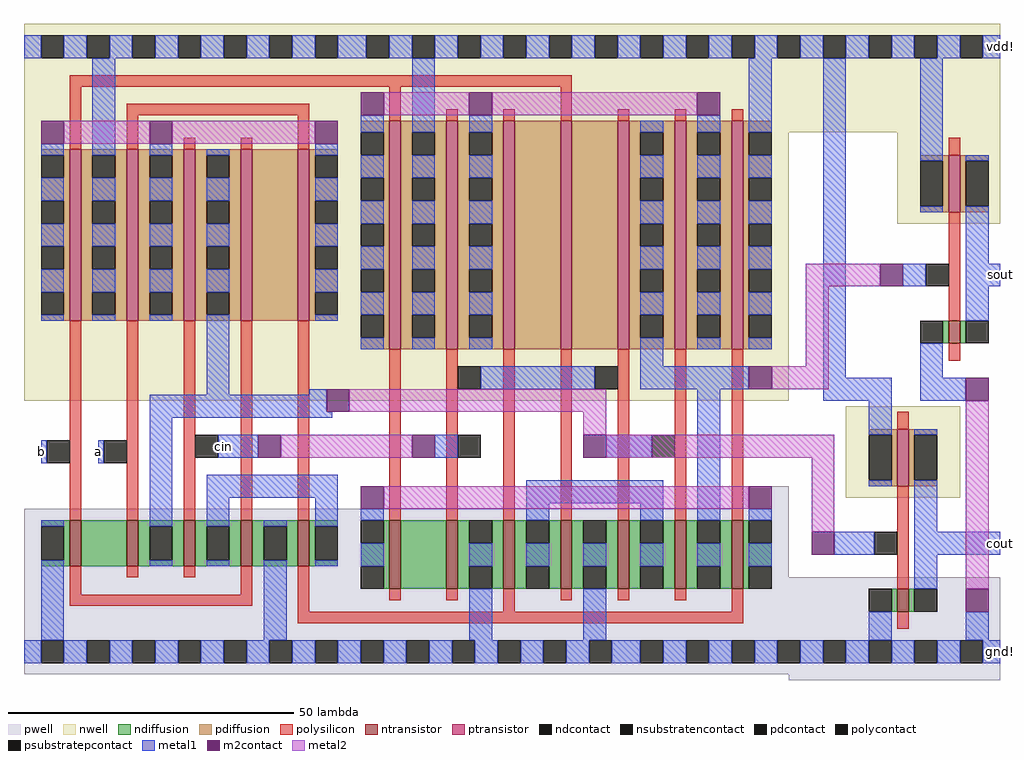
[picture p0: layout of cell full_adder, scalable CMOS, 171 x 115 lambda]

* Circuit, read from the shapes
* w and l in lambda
.subckt full_adder a b cin cout gnd! sout vdd!
M1 n1 b gnd! gnd! nfet w=8 l=2
M2 n2 a n1 gnd! nfet w=8 l=2
M3 n3 cin n2 gnd! nfet w=8 l=2
M4 gnd! b n3 gnd! nfet w=8 l=2
M5 n3 a gnd! gnd! nfet w=8 l=2
M6 n4 b n5 gnd! nfet w=12 l=2
M7 gnd! cin n4 gnd! nfet w=12 l=2
M8 n6 a gnd! gnd! nfet w=12 l=2
M9 gnd! b n6 gnd! nfet w=12 l=2
M10 n6 cin gnd! gnd! nfet w=12 l=2
M11 n7 n2 n6 gnd! nfet w=12 l=2
M12 n5 a n7 gnd! nfet w=12 l=2
M13 cout n2 gnd! gnd! nfet w=4 l=2
M14 sout n7 gnd! gnd! nfet w=4 l=2
M15 vdd! b n8 vdd! pfet w=30 l=2
M16 n8 a vdd! vdd! pfet w=30 l=2
M17 n2 cin n8 vdd! pfet w=30 l=2
M18 n9 b n2 vdd! pfet w=30 l=2
M19 n8 a n9 vdd! pfet w=30 l=2
M20 vdd! b n10 vdd! pfet w=40 l=2
M21 n10 cin vdd! vdd! pfet w=40 l=2
M22 n11 a n10 vdd! pfet w=40 l=2
M23 n12 b n11 vdd! pfet w=40 l=2
M24 n7 cin n12 vdd! pfet w=40 l=2
M25 n10 n2 n7 vdd! pfet w=40 l=2
M26 vdd! a n10 vdd! pfet w=40 l=2
M27 cout n2 vdd! n13 pfet w=10 l=2
M28 sout n7 vdd! vdd! pfet w=10 l=2
.ends

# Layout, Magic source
magic
tech scmos
<< pwell >>
rect 121 -28 131 -24
rect -3 -40 131 -28
rect -3 -57 168 -40
rect 131 -58 168 -57
<< nwell >>
rect -3 38 168 57
rect -3 -9 131 38
rect 150 22 168 38
rect 141 -26 161 -10
<< polysilicon >>
rect 5 46 93 48
rect 5 35 7 46
rect 15 41 47 43
rect 15 35 17 41
rect 25 35 27 37
rect 35 35 37 37
rect 45 35 47 41
rect 61 40 63 46
rect 71 40 73 42
rect 81 40 83 42
rect 91 40 93 46
rect 101 40 103 42
rect 111 40 113 42
rect 121 40 123 42
rect 5 -30 7 5
rect 15 -30 17 5
rect 25 -30 27 5
rect 35 -30 37 5
rect 45 -30 47 5
rect 159 34 161 37
rect 159 5 161 24
rect 61 -30 63 0
rect 71 -30 73 0
rect 81 -30 83 0
rect 91 -30 93 0
rect 101 -30 103 0
rect 111 -30 113 0
rect 121 -30 123 0
rect 159 -2 161 1
rect 150 -14 152 -11
rect 5 -43 7 -38
rect 15 -40 17 -38
rect 25 -40 27 -38
rect 35 -43 37 -38
rect 5 -45 37 -43
rect 45 -46 47 -38
rect 150 -42 152 -24
rect 61 -44 63 -42
rect 71 -44 73 -42
rect 81 -46 83 -42
rect 91 -44 93 -42
rect 101 -44 103 -42
rect 111 -44 113 -42
rect 121 -46 123 -42
rect 45 -48 123 -46
rect 150 -49 152 -46
<< ndiffusion >>
rect 158 1 159 5
rect 161 1 162 5
rect 0 -31 5 -30
rect 4 -37 5 -31
rect 0 -38 5 -37
rect 7 -38 15 -30
rect 17 -31 25 -30
rect 17 -37 19 -31
rect 23 -37 25 -31
rect 17 -38 25 -37
rect 27 -31 35 -30
rect 27 -37 29 -31
rect 33 -37 35 -31
rect 27 -38 35 -37
rect 37 -31 45 -30
rect 37 -37 39 -31
rect 43 -37 45 -31
rect 37 -38 45 -37
rect 47 -31 52 -30
rect 47 -37 48 -31
rect 47 -38 52 -37
rect 60 -34 61 -30
rect 56 -38 61 -34
rect 60 -42 61 -38
rect 63 -42 71 -30
rect 73 -34 75 -30
rect 79 -34 81 -30
rect 73 -38 81 -34
rect 73 -42 75 -38
rect 79 -42 81 -38
rect 83 -34 85 -30
rect 89 -34 91 -30
rect 83 -38 91 -34
rect 83 -42 85 -38
rect 89 -42 91 -38
rect 93 -34 95 -30
rect 99 -34 101 -30
rect 93 -38 101 -34
rect 93 -42 95 -38
rect 99 -42 101 -38
rect 103 -34 105 -30
rect 109 -34 111 -30
rect 103 -38 111 -34
rect 103 -42 105 -38
rect 109 -42 111 -38
rect 113 -34 115 -30
rect 119 -34 121 -30
rect 113 -38 121 -34
rect 113 -42 115 -38
rect 119 -42 121 -38
rect 123 -34 124 -30
rect 123 -38 128 -34
rect 123 -42 124 -38
rect 149 -46 150 -42
rect 152 -46 153 -42
<< pdiffusion >>
rect 56 38 61 40
rect 0 34 5 35
rect 4 30 5 34
rect 0 26 5 30
rect 4 22 5 26
rect 0 18 5 22
rect 4 14 5 18
rect 0 10 5 14
rect 4 6 5 10
rect 0 5 5 6
rect 7 34 15 35
rect 7 30 9 34
rect 13 30 15 34
rect 7 26 15 30
rect 7 22 9 26
rect 13 22 15 26
rect 7 18 15 22
rect 7 14 9 18
rect 13 14 15 18
rect 7 10 15 14
rect 7 6 9 10
rect 13 6 15 10
rect 7 5 15 6
rect 17 34 25 35
rect 17 30 19 34
rect 23 30 25 34
rect 17 26 25 30
rect 17 22 19 26
rect 23 22 25 26
rect 17 18 25 22
rect 17 14 19 18
rect 23 14 25 18
rect 17 10 25 14
rect 17 6 19 10
rect 23 6 25 10
rect 17 5 25 6
rect 27 34 35 35
rect 27 30 29 34
rect 33 30 35 34
rect 27 26 35 30
rect 27 22 29 26
rect 33 22 35 26
rect 27 18 35 22
rect 27 14 29 18
rect 33 14 35 18
rect 27 10 35 14
rect 27 6 29 10
rect 33 6 35 10
rect 27 5 35 6
rect 37 5 45 35
rect 47 34 52 35
rect 47 30 48 34
rect 47 26 52 30
rect 47 22 48 26
rect 47 18 52 22
rect 47 14 48 18
rect 47 10 52 14
rect 47 6 48 10
rect 47 5 52 6
rect 60 34 61 38
rect 56 30 61 34
rect 60 26 61 30
rect 56 22 61 26
rect 60 18 61 22
rect 56 14 61 18
rect 60 10 61 14
rect 56 6 61 10
rect 60 2 61 6
rect 56 0 61 2
rect 63 38 71 40
rect 63 34 65 38
rect 69 34 71 38
rect 63 30 71 34
rect 63 26 65 30
rect 69 26 71 30
rect 63 22 71 26
rect 63 18 65 22
rect 69 18 71 22
rect 63 14 71 18
rect 63 10 65 14
rect 69 10 71 14
rect 63 6 71 10
rect 63 2 65 6
rect 69 2 71 6
rect 63 0 71 2
rect 73 38 81 40
rect 73 34 75 38
rect 79 34 81 38
rect 73 30 81 34
rect 73 26 75 30
rect 79 26 81 30
rect 73 22 81 26
rect 73 18 75 22
rect 79 18 81 22
rect 73 14 81 18
rect 73 10 75 14
rect 79 10 81 14
rect 73 6 81 10
rect 73 2 75 6
rect 79 2 81 6
rect 73 0 81 2
rect 83 0 91 40
rect 93 0 101 40
rect 103 38 111 40
rect 103 34 105 38
rect 109 34 111 38
rect 103 30 111 34
rect 103 26 105 30
rect 109 26 111 30
rect 103 22 111 26
rect 103 18 105 22
rect 109 18 111 22
rect 103 14 111 18
rect 103 10 105 14
rect 109 10 111 14
rect 103 6 111 10
rect 103 2 105 6
rect 109 2 111 6
rect 103 0 111 2
rect 113 38 121 40
rect 113 34 115 38
rect 119 34 121 38
rect 113 30 121 34
rect 113 26 115 30
rect 119 26 121 30
rect 113 22 121 26
rect 113 18 115 22
rect 119 18 121 22
rect 113 14 121 18
rect 113 10 115 14
rect 119 10 121 14
rect 113 6 121 10
rect 113 2 115 6
rect 119 2 121 6
rect 113 0 121 2
rect 123 38 128 40
rect 123 34 124 38
rect 123 30 128 34
rect 123 26 124 30
rect 123 22 128 26
rect 154 33 159 34
rect 158 25 159 33
rect 154 24 159 25
rect 161 33 166 34
rect 161 25 162 33
rect 161 24 166 25
rect 123 18 124 22
rect 123 14 128 18
rect 123 10 124 14
rect 123 6 128 10
rect 123 2 124 6
rect 123 0 128 2
rect 145 -15 150 -14
rect 149 -23 150 -15
rect 145 -24 150 -23
rect 152 -15 157 -14
rect 152 -23 153 -15
rect 152 -24 157 -23
<< metal1 >>
rect -3 51 0 55
rect 4 51 8 55
rect 12 51 16 55
rect 20 51 24 55
rect 28 51 32 55
rect 36 51 40 55
rect 44 51 48 55
rect 52 51 57 55
rect 61 51 65 55
rect 69 51 73 55
rect 77 51 81 55
rect 85 51 89 55
rect 93 51 97 55
rect 101 51 105 55
rect 109 51 113 55
rect 117 51 121 55
rect 125 51 129 55
rect 133 51 137 55
rect 141 51 145 55
rect 149 51 153 55
rect 157 51 161 55
rect 165 51 168 55
rect 0 34 4 36
rect 0 26 4 30
rect 0 18 4 22
rect 0 10 4 14
rect 0 5 4 6
rect 9 34 13 51
rect 9 26 13 30
rect 9 18 13 22
rect 9 10 13 14
rect 9 5 13 6
rect 19 34 23 36
rect 19 26 23 30
rect 19 18 23 22
rect 19 10 23 14
rect 19 5 23 6
rect 29 34 33 35
rect 29 26 33 30
rect 29 18 33 22
rect 29 10 33 14
rect 29 -8 33 6
rect 48 34 52 36
rect 48 26 52 30
rect 48 18 52 22
rect 48 10 52 14
rect 48 5 52 6
rect 56 38 60 41
rect 56 30 60 34
rect 56 22 60 26
rect 56 14 60 18
rect 56 6 60 10
rect 56 0 60 2
rect 65 38 69 51
rect 65 30 69 34
rect 65 22 69 26
rect 65 14 69 18
rect 65 6 69 10
rect 65 0 69 2
rect 75 38 79 41
rect 75 30 79 34
rect 75 22 79 26
rect 75 14 79 18
rect 75 6 79 10
rect 75 0 79 2
rect 105 38 109 40
rect 105 30 109 34
rect 105 22 109 26
rect 105 14 109 18
rect 105 6 109 10
rect 105 -3 109 2
rect 115 38 119 41
rect 115 30 119 34
rect 115 22 119 26
rect 115 14 119 18
rect 115 6 119 10
rect 115 0 119 2
rect 124 38 128 51
rect 124 30 128 34
rect 124 22 128 26
rect 124 14 128 18
rect 124 6 128 10
rect 124 0 128 2
rect 77 -7 97 -3
rect 105 -7 124 -3
rect 137 -5 141 51
rect 154 33 158 51
rect 154 24 158 25
rect 162 33 166 34
rect 162 15 166 25
rect 151 11 155 15
rect 162 11 168 15
rect 162 5 166 11
rect 154 -5 158 1
rect 47 -8 50 -7
rect 19 -11 50 -8
rect 19 -12 51 -11
rect 0 -20 1 -16
rect 10 -20 11 -16
rect 0 -31 4 -30
rect 0 -51 4 -37
rect 19 -31 23 -12
rect 31 -19 38 -15
rect 69 -19 73 -15
rect 99 -19 107 -15
rect 19 -38 23 -37
rect 29 -26 52 -22
rect 29 -31 33 -26
rect 29 -38 33 -37
rect 39 -31 43 -30
rect 39 -51 43 -37
rect 48 -31 52 -26
rect 48 -38 52 -37
rect 56 -30 60 -28
rect 85 -27 109 -23
rect 85 -30 89 -27
rect 105 -30 109 -27
rect 56 -38 60 -34
rect 75 -38 79 -34
rect 85 -38 89 -34
rect 95 -38 99 -34
rect 105 -38 109 -34
rect 115 -30 119 -7
rect 137 -9 149 -5
rect 154 -9 162 -5
rect 145 -15 149 -9
rect 145 -24 149 -23
rect 153 -15 157 -14
rect 115 -38 119 -34
rect 124 -30 128 -28
rect 153 -32 157 -23
rect 124 -38 128 -34
rect 139 -36 146 -32
rect 153 -36 168 -32
rect 153 -42 157 -36
rect 75 -51 79 -42
rect 95 -51 99 -42
rect 145 -51 149 -46
rect 162 -51 166 -46
rect -3 -55 0 -51
rect 4 -55 8 -51
rect 12 -55 16 -51
rect 20 -55 24 -51
rect 28 -55 32 -51
rect 36 -55 40 -51
rect 44 -55 48 -51
rect 52 -55 56 -51
rect 60 -55 64 -51
rect 68 -55 72 -51
rect 76 -55 80 -51
rect 84 -55 88 -51
rect 92 -55 96 -51
rect 100 -55 105 -51
rect 109 -55 113 -51
rect 117 -55 121 -51
rect 125 -55 129 -51
rect 133 -55 137 -51
rect 141 -55 145 -51
rect 149 -55 153 -51
rect 157 -55 161 -51
rect 165 -55 168 -51
<< metal2 >>
rect 60 41 75 45
rect 79 41 115 45
rect 4 36 19 40
rect 23 36 48 40
rect 134 11 147 15
rect 134 -3 138 11
rect 128 -7 138 -3
rect 54 -11 99 -7
rect 95 -15 99 -11
rect 42 -19 65 -15
rect 99 -19 139 -15
rect 60 -28 124 -24
rect 135 -32 139 -19
rect 162 -42 166 -9
<< ntransistor >>
rect 159 1 161 5
rect 5 -38 7 -30
rect 15 -38 17 -30
rect 25 -38 27 -30
rect 35 -38 37 -30
rect 45 -38 47 -30
rect 61 -42 63 -30
rect 71 -42 73 -30
rect 81 -42 83 -30
rect 91 -42 93 -30
rect 101 -42 103 -30
rect 111 -42 113 -30
rect 121 -42 123 -30
rect 150 -46 152 -42
<< ptransistor >>
rect 5 5 7 35
rect 15 5 17 35
rect 25 5 27 35
rect 35 5 37 35
rect 45 5 47 35
rect 61 0 63 40
rect 71 0 73 40
rect 81 0 83 40
rect 91 0 93 40
rect 101 0 103 40
rect 111 0 113 40
rect 121 0 123 40
rect 159 24 161 34
rect 150 -24 152 -14
<< polycontact >>
rect 1 -20 5 -16
rect 11 -20 15 -16
rect 27 -19 31 -15
rect 155 11 159 15
rect 73 -7 77 -3
rect 73 -19 77 -15
rect 97 -7 101 -3
rect 107 -19 111 -15
rect 146 -36 150 -32
<< ndcontact >>
rect 154 1 158 5
rect 162 1 166 5
rect 0 -37 4 -31
rect 19 -37 23 -31
rect 29 -37 33 -31
rect 39 -37 43 -31
rect 48 -37 52 -31
rect 56 -34 60 -30
rect 56 -42 60 -38
rect 75 -34 79 -30
rect 75 -42 79 -38
rect 85 -34 89 -30
rect 85 -42 89 -38
rect 95 -34 99 -30
rect 95 -42 99 -38
rect 105 -34 109 -30
rect 105 -42 109 -38
rect 115 -34 119 -30
rect 115 -42 119 -38
rect 124 -34 128 -30
rect 124 -42 128 -38
rect 145 -46 149 -42
rect 153 -46 157 -42
<< pdcontact >>
rect 0 30 4 34
rect 0 22 4 26
rect 0 14 4 18
rect 0 6 4 10
rect 9 30 13 34
rect 9 22 13 26
rect 9 14 13 18
rect 9 6 13 10
rect 19 30 23 34
rect 19 22 23 26
rect 19 14 23 18
rect 19 6 23 10
rect 29 30 33 34
rect 29 22 33 26
rect 29 14 33 18
rect 29 6 33 10
rect 48 30 52 34
rect 48 22 52 26
rect 48 14 52 18
rect 48 6 52 10
rect 56 34 60 38
rect 56 26 60 30
rect 56 18 60 22
rect 56 10 60 14
rect 56 2 60 6
rect 65 34 69 38
rect 65 26 69 30
rect 65 18 69 22
rect 65 10 69 14
rect 65 2 69 6
rect 75 34 79 38
rect 75 26 79 30
rect 75 18 79 22
rect 75 10 79 14
rect 75 2 79 6
rect 105 34 109 38
rect 105 26 109 30
rect 105 18 109 22
rect 105 10 109 14
rect 105 2 109 6
rect 115 34 119 38
rect 115 26 119 30
rect 115 18 119 22
rect 115 10 119 14
rect 115 2 119 6
rect 124 34 128 38
rect 124 26 128 30
rect 154 25 158 33
rect 162 25 166 33
rect 124 18 128 22
rect 124 10 128 14
rect 124 2 128 6
rect 145 -23 149 -15
rect 153 -23 157 -15
<< m2contact >>
rect 0 36 4 40
rect 56 41 60 45
rect 19 36 23 40
rect 48 36 52 40
rect 75 41 79 45
rect 115 41 119 45
rect 124 -7 128 -3
rect 147 11 151 15
rect 50 -11 54 -7
rect 38 -19 42 -15
rect 65 -19 69 -15
rect 95 -19 99 -15
rect 56 -28 60 -24
rect 162 -9 166 -5
rect 124 -28 128 -24
rect 135 -36 139 -32
rect 162 -46 166 -42
<< psubstratepcontact >>
rect 0 -55 4 -51
rect 8 -55 12 -51
rect 16 -55 20 -51
rect 24 -55 28 -51
rect 32 -55 36 -51
rect 40 -55 44 -51
rect 48 -55 52 -51
rect 56 -55 60 -51
rect 64 -55 68 -51
rect 72 -55 76 -51
rect 80 -55 84 -51
rect 88 -55 92 -51
rect 96 -55 100 -51
rect 105 -55 109 -51
rect 113 -55 117 -51
rect 121 -55 125 -51
rect 129 -55 133 -51
rect 137 -55 141 -51
rect 145 -55 149 -51
rect 153 -55 157 -51
rect 161 -55 165 -51
<< nsubstratencontact >>
rect 0 51 4 55
rect 8 51 12 55
rect 16 51 20 55
rect 24 51 28 55
rect 32 51 36 55
rect 40 51 44 55
rect 48 51 52 55
rect 57 51 61 55
rect 65 51 69 55
rect 73 51 77 55
rect 81 51 85 55
rect 89 51 93 55
rect 97 51 101 55
rect 105 51 109 55
rect 113 51 117 55
rect 121 51 125 55
rect 129 51 133 55
rect 137 51 141 55
rect 145 51 149 55
rect 153 51 157 55
rect 161 51 165 55
<< labels >>
rlabel metal1 32 -19 32 -15 1 cin
rlabel metal1 0 -20 0 -16 3 b
rlabel metal1 168 -55 168 -51 8 gnd!
rlabel metal1 168 -36 168 -32 7 cout
rlabel metal1 168 11 168 15 7 sout
rlabel metal1 168 51 168 55 6 vdd!
rlabel metal1 10 -20 10 -16 1 a
<< end >>
